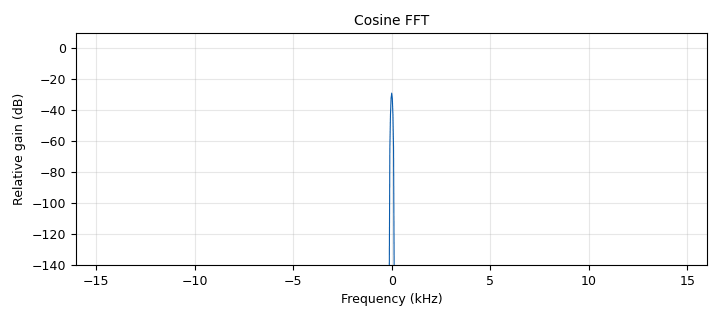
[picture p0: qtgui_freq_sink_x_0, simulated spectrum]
<?xml version='1.0' encoding='utf-8'?>
<?grc format='1' created='3.7.9'?>
<flow_graph>
<block>
<key>options</key>
<param><key>id</key><value>top_block</value></param>
<param><key>category</key><value>Custom</value></param>
<param><key>generate_options</key><value>qt_gui</value></param>
</block>
<block>
<key>variable_qtgui_range</key>
<param><key>id</key><value>Amplitude</value></param>
<param><key>value</key><value>100</value></param>
<param><key>orient</key><value>Qt.Horizontal</value></param>
<param><key>start</key><value>0</value></param>
<param><key>step</key><value>1</value></param>
<param><key>stop</key><value>1000</value></param>
</block>
<block>
<key>variable</key>
<param><key>id</key><value>samp_rate</value></param>
<param><key>value</key><value>32000</value></param>
</block>
<block>
<key>Energy_Detector</key>
<param><key>id</key><value>Energy_Detector_0</value></param>
</block>
<block>
<key>Energy_Detector</key>
<param><key>id</key><value>Energy_Detector_0_0</value></param>
<param><key>_enabled</key><value>0</value></param>
</block>
<block>
<key>analog_noise_source_x</key>
<param><key>id</key><value>analog_noise_source_x_1</value></param>
<param><key>amp</key><value>1</value></param>
<param><key>_enabled</key><value>0</value></param>
<param><key>noise_type</key><value>analog.GR_GAUSSIAN</value></param>
<param><key>type</key><value>complex</value></param>
<param><key>seed</key><value>0</value></param>
</block>
<block>
<key>analog_sig_source_x</key>
<param><key>id</key><value>analog_sig_source_x_0</value></param>
<param><key>amp</key><value>0.1</value></param>
<param><key>freq</key><value>0.1</value></param>
<param><key>offset</key><value>0</value></param>
<param><key>type</key><value>complex</value></param>
<param><key>samp_rate</key><value>samp_rate</value></param>
<param><key>waveform</key><value>analog.GR_COS_WAVE</value></param>
</block>
<block>
<key>qtgui_freq_sink_x</key>
<param><key>id</key><value>qtgui_freq_sink_x_0</value></param>
<param><key>bw</key><value>samp_rate</value></param>
<param><key>fc</key><value>0</value></param>
<param><key>ctrlpanel</key><value>True</value></param>
<param><key>fftsize</key><value>1024</value></param>
<param><key>name</key><value>"Cosine FFT"</value></param>
<param><key>showports</key><value>True</value></param>
<param><key>type</key><value>complex</value></param>
<param><key>wintype</key><value>firdes.WIN_BLACKMAN_hARRIS</value></param>
</block>
<block>
<key>qtgui_freq_sink_x</key>
<param><key>id</key><value>qtgui_freq_sink_x_0_0</value></param>
<param><key>bw</key><value>samp_rate</value></param>
<param><key>fc</key><value>0</value></param>
<param><key>_enabled</key><value>0</value></param>
<param><key>fftsize</key><value>1024</value></param>
<param><key>name</key><value>"Noise FFT"</value></param>
<param><key>showports</key><value>True</value></param>
<param><key>type</key><value>complex</value></param>
<param><key>wintype</key><value>firdes.WIN_BLACKMAN_hARRIS</value></param>
</block>
<block>
<key>qtgui_time_sink_x</key>
<param><key>id</key><value>qtgui_time_sink_x_0</value></param>
<param><key>ctrlpanel</key><value>True</value></param>
<param><key>color1</key><value>"blue"</value></param>
<param><key>label1</key><value></value></param>
<param><key>name</key><value>"Cosine ED"</value></param>
<param><key>size</key><value>1024</value></param>
<param><key>srate</key><value>samp_rate</value></param>
<param><key>type</key><value>float</value></param>
<param><key>ymax</key><value>5</value></param>
<param><key>ymin</key><value>0</value></param>
</block>
<block>
<key>qtgui_time_sink_x</key>
<param><key>id</key><value>qtgui_time_sink_x_0_0</value></param>
<param><key>_enabled</key><value>0</value></param>
<param><key>color1</key><value>"blue"</value></param>
<param><key>label1</key><value></value></param>
<param><key>name</key><value>"Noise ED"</value></param>
<param><key>size</key><value>1024</value></param>
<param><key>srate</key><value>samp_rate</value></param>
<param><key>type</key><value>float</value></param>
</block>
<connection><source_block_id>Energy_Detector_0</source_block_id><sink_block_id>qtgui_time_sink_x_0</sink_block_id><source_key>0</source_key><sink_key>0</sink_key></connection>
<connection><source_block_id>Energy_Detector_0_0</source_block_id><sink_block_id>qtgui_time_sink_x_0_0</sink_block_id><source_key>0</source_key><sink_key>0</sink_key></connection>
<connection><source_block_id>analog_noise_source_x_1</source_block_id><sink_block_id>Energy_Detector_0_0</sink_block_id><source_key>0</source_key><sink_key>0</sink_key></connection>
<connection><source_block_id>analog_noise_source_x_1</source_block_id><sink_block_id>qtgui_freq_sink_x_0_0</sink_block_id><source_key>0</source_key><sink_key>0</sink_key></connection>
<connection><source_block_id>analog_sig_source_x_0</source_block_id><sink_block_id>Energy_Detector_0</sink_block_id><source_key>0</source_key><sink_key>0</sink_key></connection>
<connection><source_block_id>analog_sig_source_x_0</source_block_id><sink_block_id>qtgui_freq_sink_x_0</sink_block_id><source_key>0</source_key><sink_key>0</sink_key></connection>
</flow_graph>
